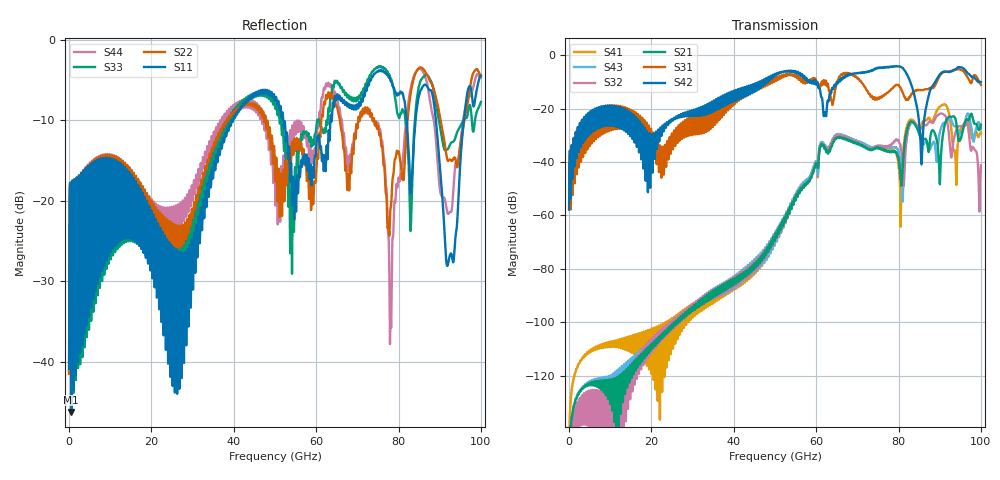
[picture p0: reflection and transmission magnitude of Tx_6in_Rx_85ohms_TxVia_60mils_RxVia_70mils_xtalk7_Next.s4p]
! Info: Touchstone file created by Circ.  Input file=Tx_6in_Rx_85ohms_TxVia_60mils_RxVia_70mils.circ
# Hz S RI R 50
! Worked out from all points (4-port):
!   10000 points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, 10 MHz to 100 GHz, reference 50 ohm
!   strongest paths, dB at 10 MHz, 25.01 GHz, 50.01 GHz, 75.01 GHz, 100 GHz:
!     S42: -57.7, -24.1, -6.9, -4.8, -10.0
!     S31: -57.8, -29.5, -8.4, -15.9, -11.1
!     S21: -167.0, -100.8, -68.4, -34.6, -26.0
!     S32: -170.2, -100.2, -69.0, -34.0, -41.2
!     S43: -154.5, -101.1, -70.1, -33.7, -27.5
!     S41: -150.3, -98.7, -69.9, -34.3, -29.0
!   lowest |S11| = -46.2 dB at 540 MHz (marker M1), VSWR 1.01, Z = 49.5 - j0.147 ohm
!   |S11| at or under -10 dB: start of sweep to 39.5 GHz; 52.01 GHz to 63.44 GHz (11.43 GHz wide, 19.8 % of centre); 89.07 GHz to 95.86 GHz (6.792 GHz wide, 7.35 % of centre)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
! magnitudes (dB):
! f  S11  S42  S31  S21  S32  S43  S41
! 10 MHz  -40.9  -57.7  -57.8  -167.0  -170.2  -154.5  -150.3
! 540 MHz  -46.2  -36.9  -37.0  -137.0  -139.8  -136.6  -126.5
! 44.91 GHz  -6.7  -13.1  -13.2  -78.6  -78.3  -77.5  -78.9
! 65.22 GHz  -6.9  -10.5  -9.6  -31.0  -29.9  -29.6  -30.6
! 78.09 GHz  -5.2  -4.4  -13.1  -36.1  -33.6  -34.5  -35.1
! 85.56 GHz  -6.2  -40.8  -13.1  -31.8  -27.4  -31.0  -26.3
! 100 GHz  -4.4  -10.0  -11.1  -26.0  -41.2  -27.5  -29.0
